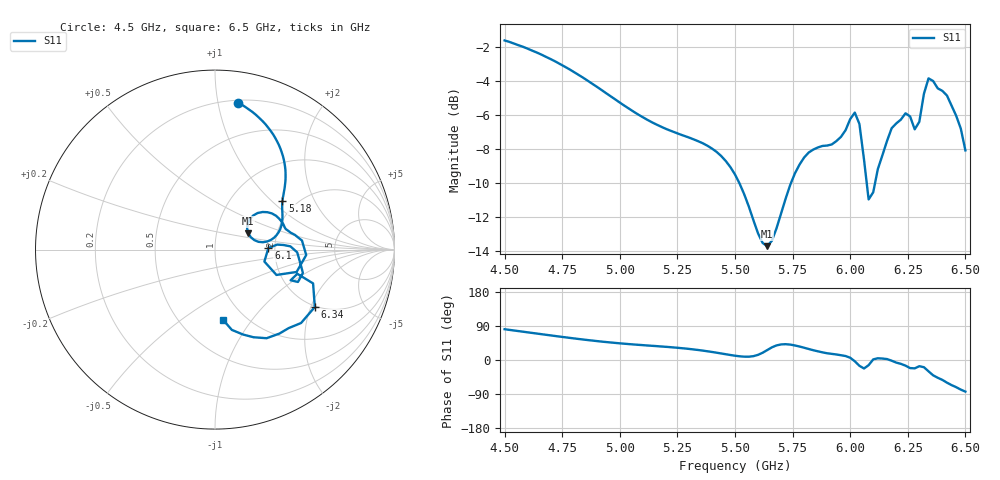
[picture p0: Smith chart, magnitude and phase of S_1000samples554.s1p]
! TOUCHSTONE file generated by CST MICROWAVE STUDIO
! Date and time: Fri Oct 28 13:53:52 2022
! Project name: L.cst
! Parameters = {Di=1.27; Epsilon_r=1.56; InnerDiameter=1.27; Length=2; Lf=10; Lg=60; OuterConductorThickness=0.2921; OuterDiameter=3.6; Wf=3; Wp=41.2; de=1.5; df=6.8; g=0.8; gx=0.885295; gy=3.69506; h=2.34; hf=1.524; px=11.4207; py=14.4702; w=9.7; wx=10.5354; wy=10.7752}
! Header version: 2018
! Port assignment regex: !\s*Touchstone port\s*([0-9]+)\s*=\s*(CST MWS port|CST DS port)\s*([0-9]+|Zmin|Zmax)\s*\(\"(.*)\"\)(\s*mode\s*([0-9]+))?.*
! Touchstone port assignment:
! Touchstone port 1 = CST MWS port 1 ("")
# GHz S DB R 50
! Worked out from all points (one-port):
!   101 points, 4.5 GHz to 6.5 GHz, reference 50 ohm
!   lowest |S11| = -13.7 dB at 5.64 GHz (marker M1), VSWR 1.52, Z = 71.2 + j13.6 ohm
!   |S11| at or under -10 dB: 5.519 GHz to 5.743 GHz (224 MHz wide, 3.98 % of centre); 6.072 GHz to 6.108 GHz (36.11 MHz wide, 0.593 % of centre)
!   S11 on the Smith chart (normalised r, x): 4.5 GHz: 0.22, +1.14; 5.18 GHz: 1.70, +1.17; 6.1 GHz: 1.85, +0.03; 6.34 GHz: 1.97, -2.14; 6.5 GHz: 0.79, -0.74
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4.5  -1.63 81.2
4.76  -3.16 60.1
5  -5.28 44.0
5.18  -6.70 35.7
5.26  -7.13 31.7
5.42  -8.17 19.3
5.5  -9.50 11.3
5.58  -12.18 10.1
5.64  -13.70 26.2
5.7  -11.79 41.1
5.76  -9.43 38.4
6  -6.25 6.0
6.02  -5.86 -3.4
6.04  -6.53 -15.3
6.06  -8.62 -22.4
6.08  -10.96 -13.6
6.1  -10.54 1.6
6.16  -7.52 2.5
6.24  -5.90 -14.9
6.26  -6.09 -21.3
6.28  -6.84 -22.1
6.3  -6.41 -16.4
6.32  -4.76 -19.0
6.34  -3.86 -29.9
6.36  -4.01 -40.5
6.42  -4.86 -59.8
6.46  -6.05 -71.7
6.5  -8.08 -83.4
